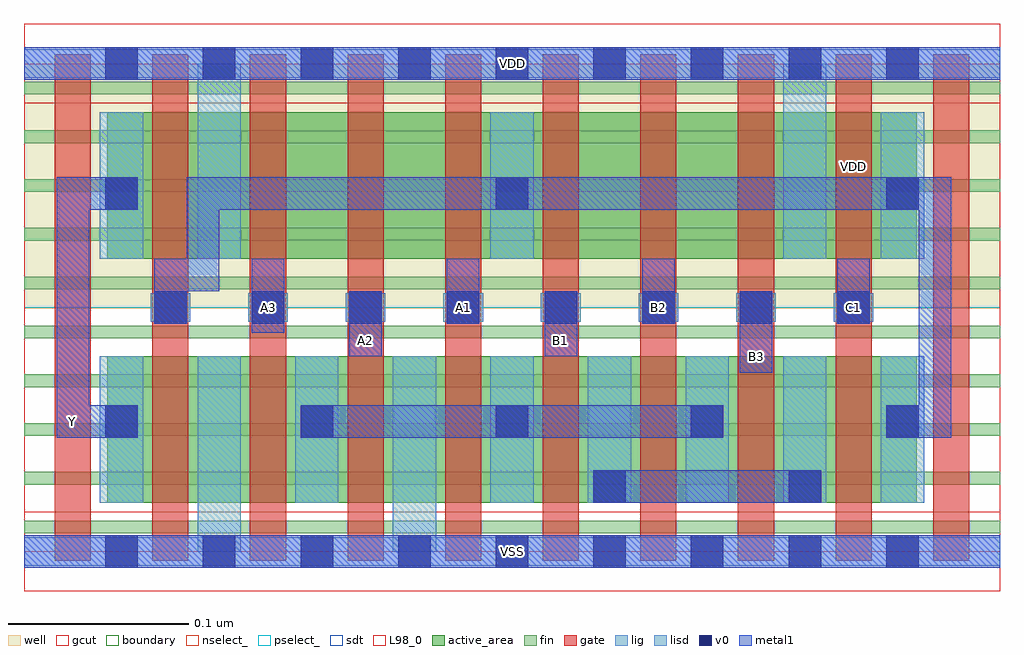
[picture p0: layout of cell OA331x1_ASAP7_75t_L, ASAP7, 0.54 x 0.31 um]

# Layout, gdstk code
import gdstk
lib = gdstk.Library(unit=1e-6, precision=2.5e-10)
def R(c, l, rs):  # rectangles x0, y0, x1, y1
    for r in rs: c.add(gdstk.rectangle(r[:2], r[2:], *l))
def A(c, l, x, y, w, h, nx, ny, dx, dy):  # array of equal rectangles
    R(c, l, [(x+i*dx, y+j*dy, x+i*dx+w, y+j*dy+h) for i in range(nx) for j in range(ny)])
def P(c, l, *ps):  # polygons
    for p in ps: c.add(gdstk.Polygon(p, *l))
well = (1, 0)
fin = (2, 0)
gate = (7, 0)
gcut = (10, 0)
active_area = (11, 0)
nselect_ = (12, 0)
pselect_ = (13, 0)
lig = (16, 0)
lisd = (17, 0)
v0 = (18, 0)
metal1 = (19, 0)
sdt = (88, 0)
L98_0 = (98, 0)
boundary = (100, 0)

oa331x1_asap7_75t_l = lib.new_cell('OA331x1_ASAP7_75t_L')
R(oa331x1_asap7_75t_l, well, [(0,0.135,0.54,0.27)])
A(oa331x1_asap7_75t_l, fin, 0, 0.01, 0.54, 0.007, 1, 10, 0, 0.027)
A(oa331x1_asap7_75t_l, gate, 0.017, -0.005, 0.02, 0.28, 10, 1, 0.054, 0)
R(oa331x1_asap7_75t_l, gcut, [(0,-0.022,0.54,0.022), (0,0.248,0.54,0.292)])
R(oa331x1_asap7_75t_l, active_area, [(0.046,0.027,0.494,0.108), (0.046,0.162,0.494,0.243)])
R(oa331x1_asap7_75t_l, nselect_, [(0,0,0.54,0.135)])
R(oa331x1_asap7_75t_l, pselect_, [(0,0.135,0.54,0.27)])
A(oa331x1_asap7_75t_l, lig, 0.07, 0.127, 0.022, 0.016, 8, 1, 0.054, 0)
R(oa331x1_asap7_75t_l, lig, [(0,-0.008,0.54,0.008), (0,0.262,0.54,0.278)])
A(oa331x1_asap7_75t_l, lisd, 0.042, 0.027, 0.024, 0.081, 3, 1, 0.108, 0)
A(oa331x1_asap7_75t_l, lisd, 0.312, 0.027, 0.024, 0.081, 4, 1, 0.054, 0)
A(oa331x1_asap7_75t_l, lisd, 0.042, 0.162, 0.024, 0.081, 3, 1, 0.216, 0)
R(oa331x1_asap7_75t_l, lisd, [(0.096,0,0.12,0.108), (0.204,0,0.228,0.108), (0.096,0.162,0.12,0.27), (0.42,0.162,0.444,0.27)])
A(oa331x1_asap7_75t_l, v0, 0.045, -0.009, 0.018, 0.018, 9, 2, 0.054, 0.27)
A(oa331x1_asap7_75t_l, v0, 0.045, 0.063, 0.018, 0.018, 5, 1, 0.108, 0)
A(oa331x1_asap7_75t_l, v0, 0.072, 0.126, 0.018, 0.018, 8, 1, 0.054, 0)
A(oa331x1_asap7_75t_l, v0, 0.045, 0.189, 0.018, 0.018, 3, 1, 0.216, 0)
R(oa331x1_asap7_75t_l, v0, [(0.315,0.027,0.333,0.045), (0.423,0.027,0.441,0.045)])
A(oa331x1_asap7_75t_l, metal1, 0.234, 0.126, 0.018, 0.036, 3, 1, 0.108, 0)
R(oa331x1_asap7_75t_l, metal1, [(0,-0.009,0.54,0.009), (0.315,0.027,0.441,0.045), (0.153,0.063,0.387,0.081), (0.396,0.099,0.414,0.144), (0.18,0.108,0.198,0.144), (0.288,0.108,0.306,0.144), (0.126,0.121,0.144,0.162), (0,0.261,0.54,0.279)])
P(oa331x1_asap7_75t_l, metal1, [(0.477,0.063),(0.477,0.081),(0.495,0.081),(0.495,0.189),(0.108,0.189),(0.108,0.144),(0.09,0.144),(0.09,0.126),(0.072,0.126),(0.072,0.162),(0.09,0.162),(0.09,0.207),(0.513,0.207),(0.513,0.063)],
  [(0.018,0.063),(0.018,0.207),(0.063,0.207),(0.063,0.189),(0.036,0.189),(0.036,0.081),(0.063,0.081),(0.063,0.063)])
A(oa331x1_asap7_75t_l, sdt, 0.042, 0.027, 0.024, 0.081, 9, 1, 0.054, 0)
A(oa331x1_asap7_75t_l, sdt, 0.096, 0.162, 0.024, 0.081, 3, 1, 0.162, 0)
R(oa331x1_asap7_75t_l, sdt, [(0.042,0.162,0.066,0.243), (0.474,0.162,0.498,0.243)])
R(oa331x1_asap7_75t_l, L98_0, [(0,0,0.54,0.27)])
R(oa331x1_asap7_75t_l, boundary, [(0,0,0.54,0.27)])
oa331x1_asap7_75t_l.add(gdstk.Label('Y', (0.027,0.072), layer=19, texttype=251))
oa331x1_asap7_75t_l.add(gdstk.Label('C1', (0.459,0.135), layer=19, texttype=251))
oa331x1_asap7_75t_l.add(gdstk.Label('B3', (0.405,0.108), layer=19, texttype=251))
oa331x1_asap7_75t_l.add(gdstk.Label('B2', (0.351,0.135), layer=19, texttype=251))
oa331x1_asap7_75t_l.add(gdstk.Label('B1', (0.297,0.117), layer=19, texttype=251))
oa331x1_asap7_75t_l.add(gdstk.Label('A3', (0.135,0.135), layer=19, texttype=251))
oa331x1_asap7_75t_l.add(gdstk.Label('A2', (0.189,0.117), layer=19, texttype=251))
oa331x1_asap7_75t_l.add(gdstk.Label('A1', (0.243,0.135), layer=19, texttype=251))
oa331x1_asap7_75t_l.add(gdstk.Label('VSS', (0.27,0), layer=19, texttype=251))
oa331x1_asap7_75t_l.add(gdstk.Label('VDD', (0.27,0.27), layer=19, texttype=251))
oa331x1_asap7_75t_l.add(gdstk.Label('VDD', (0.459,0.213), layer=1, texttype=251))
oa331x1_asap7_75t_l.add(gdstk.Label('VSS', (0.621,0.213), layer=3, texttype=251))

lib.write_gds('OA331x1_ASAP7_75t_L.gds')
